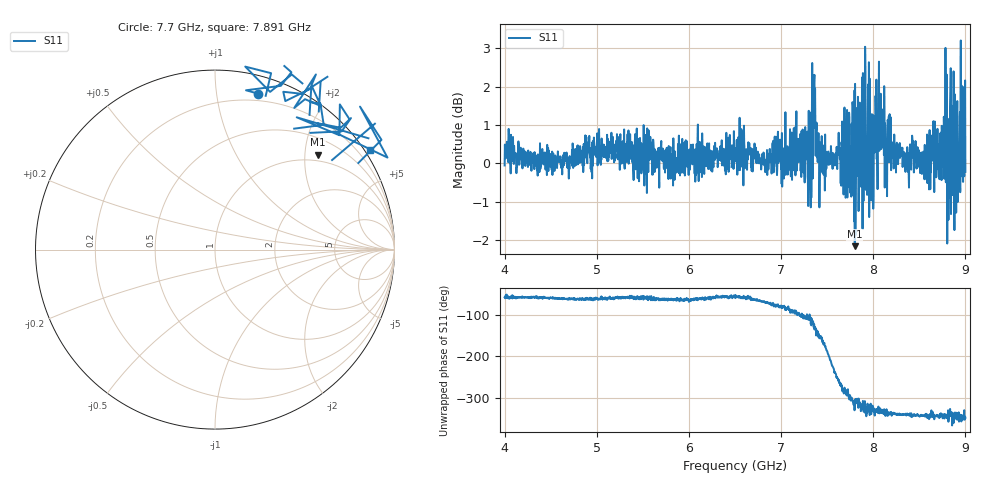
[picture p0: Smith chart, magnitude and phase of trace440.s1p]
! Created with skrf 1.8.0 (http://scikit-rf.org).
# Hz S RI R 50.0
!freq ReS11 ImS11
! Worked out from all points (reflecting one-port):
!   1601 points, 4 GHz to 9 GHz, reference 50 ohm
!   lowest |S11| = -2.2 dB at 7.8 GHz (marker M1), VSWR 8.07, Z = 42.5 + j115 ohm
!   phase of S11 starts at -59 deg and turns -289 deg over the sweep
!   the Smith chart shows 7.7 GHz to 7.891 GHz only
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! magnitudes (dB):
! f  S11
! 4 GHz  -0.1
! 4.625 GHz  -0.3
! 5.25 GHz  -0.2
! 5.875 GHz  -0.1
! 6.5 GHz  0.3
! 7.125 GHz  0.4
! 7.284 GHz  0.8
! 7.306 GHz  0.4
! 7.359 GHz  2.2
! 7.397 GHz  0.0
! 7.438 GHz  -0.2
! 7.75 GHz  -0.8
! 7.8 GHz  -2.2
! 7.881 GHz  1.1
! 7.891 GHz  0.3
! 7.909 GHz  1.2
! 7.928 GHz  -0.3
! 7.944 GHz  2.1
! 7.969 GHz  1.2
! 7.981 GHz  -1.0
! 8.084 GHz  0.4
! 8.375 GHz  0.0
! 8.441 GHz  -0.2
! 8.581 GHz  -0.4
! 8.775 GHz  0.7
! 8.906 GHz  0.6
! 8.972 GHz  0.1
! 9 GHz  -0.2
